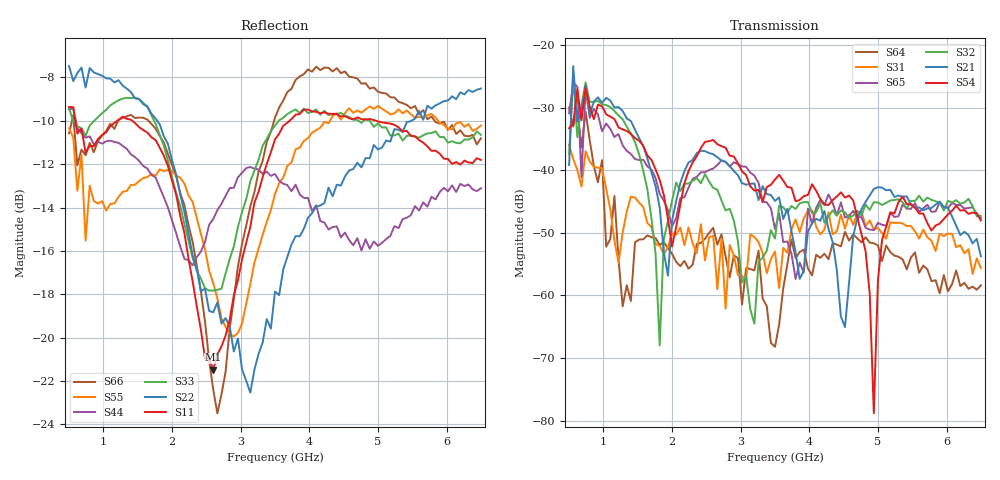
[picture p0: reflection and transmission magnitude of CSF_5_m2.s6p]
!Keysight Technologies,M9804A,MY58100912,A.14.10.03
!Date: Thursday, April 27, 2023 10:28:33
!Correction: S11(C  6-Port  )
!S12(C  6-Port  )
!S13(C  6-Port  )
!S14(C  6-Port  )
!S15(C  6-Port  )
!S16(C  6-Port  )
!S21(C  6-Port  )
!S22(C  6-Port  )
!S23(C  6-Port  )
!S24(C  6-Port  )
!S25(C  6-Port  )
!S26(C  6-Port  )
!S31(C  6-Port  )
!S32(C  6-Port  )
!S33(C  6-Port  )
!S34(C  6-Port  )
!S35(C  6-Port  )
!S36(C  6-Port  )
!S41(C  6-Port  )
!S42(C  6-Port  )
!S43(C  6-Port  )
!S44(C  6-Port  )
!S45(C  6-Port  )
!S46(C  6-Port  )
!S51(C  6-Port  )
!S52(C  6-Port  )
!S53(C  6-Port  )
!S54(C  6-Port  )
!S55(C  6-Port  )
!S56(C  6-Port  )
!S61(C  6-Port  )
!S62(C  6-Port  )
!S63(C  6-Port  )
!S64(C  6-Port  )
!S65(C  6-Port  )
!S66(C  6-Port  )
!S6P File: Measurement: :
# Hz S  RI  R 50
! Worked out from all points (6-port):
!   101 points, 500 MHz to 6.5 GHz, reference 50 ohm
!   strongest paths, dB at 500 MHz, 2 GHz, 3.5 GHz, 5 GHz, 6.5 GHz:
!     S54: -33.3, -52.2, -41.5, -57.5, -48.0
!     S21: -39.1, -48.0, -44.9, -42.7, -53.7
!     S32: -37.3, -44.8, -50.9, -45.2, -47.3
!     S65: -30.9, -48.9, -49.4, -48.4, -47.6
!     S31: -36.0, -50.1, -53.0, -49.2, -55.6
!     S64: -30.0, -53.3, -68.2, -52.0, -58.4
!   lowest |S11| = -21.5 dB at 2.6 GHz (marker M1), VSWR 1.18, Z = 42.5 + j2.17 ohm
!   |S11| at or under -10 dB: 590.9 MHz to 1.202 GHz (610.8 MHz wide, 68.1 % of centre); 1.42 GHz to 3.712 GHz (2.291 GHz wide, 89.3 % of centre); 4.972 GHz to end of sweep
